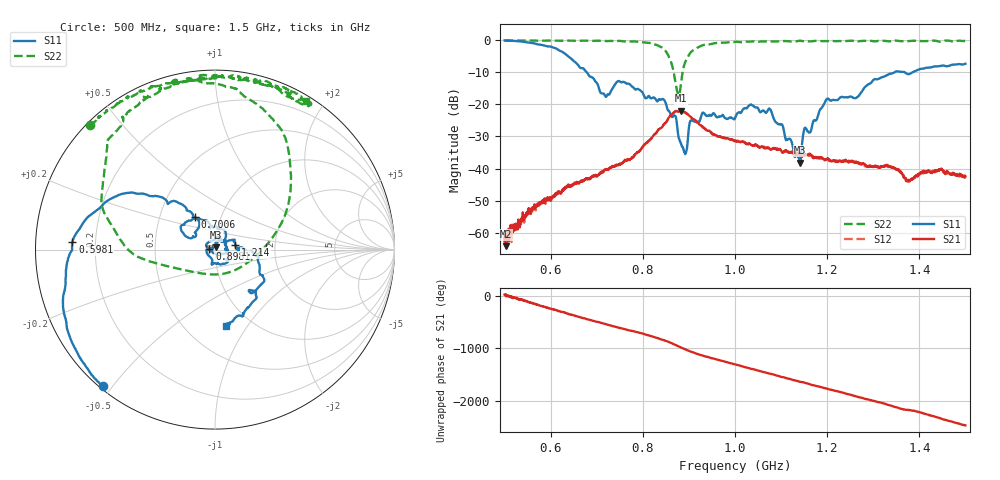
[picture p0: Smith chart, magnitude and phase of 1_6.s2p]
!Agilent Technologies,E8364B,US42250235,A.06.04.32
!Agilent E8364B: A.06.04.32
!Date: Friday, January 15, 2021 16:18:51
!Correction: S11(Full 2 Port(1,2)) S21(Full 2 Port(1,2)) S12(Full 2 Port(1,2)) S22(Full 2 Port(1,2))
!S2P File: Measurements: S11, S21, S12, S22:
# Hz S  dB  R 50
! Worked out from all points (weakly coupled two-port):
!   1601 points, 500 MHz to 1.5 GHz, reference 50 ohm
!   highest |S21| = -21.99 dB at 881.9 MHz (marker M1); lowest = -64.2 dB at 503.1 MHz (marker M2)
!   lowest |S11| = -38.1 dB at 1.141 GHz (marker M3), VSWR 1.03, Z = 50.3 + j1.21 ohm
!   |S11| at or under -10 dB: 678.2 MHz to 1.347 GHz (668.5 MHz wide, 66 % of centre); 1.368 GHz to 1.385 GHz (17.47 MHz wide, 1.27 % of centre)
!   |S22| runs from -17.2 to -0.1 dB; largest |S21 - S12| = 0.0019
!   S11 on the Smith chart (normalised r, x): 500 MHz: 0.01, -0.47; 598.1 MHz: 0.11, +0.03; 700.6 MHz: 0.75, +0.28; 898.1 MHz: 0.94, +0.01; 1.214 GHz: 1.26, +0.07; 1.5 GHz: 0.77, -0.80
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5e8  -0.13 -129.5  -62.67 21.5  -61.27 -1.3  -0.16 135.2
5.03125e8  -0.14 -130.7  -64.16 -0.2  -61.00 11.2  -0.17 134.8
5.98125e8  -1.99 177.0  -49.52 118.0  -49.75 115.3  -0.17 124.6
6.66875e8  -8.74 135.9  -43.91 -56.4  -44.14 -57.6  -0.22 115.0
7.00625e8  -13.47 121.9  -42.53 -136.5  -42.14 -136.7  -0.20 111.2
8.3375e8  -18.71 82.4  -27.86 -91.8  -27.88 -91.9  -1.77 69.4
8.60625e8  -23.24 28.9  -23.35 -176.6  -23.44 -175.9  -6.60 30.4
8.75e8  -27.48 -31.2  -22.24 124.3  -22.25 124.8  -16.27 -51.8
8.81875e8  -32.00 -58.0  -21.99 98.1  -22.02 98.4  -14.60 -139.7
8.9125e8  -35.21 176.7  -22.50 62.1  -22.48 62.2  -7.12 -175.4
8.98125e8  -29.97 168.9  -23.23 36.7  -23.07 36.7  -5.12 170.8
9.05e8  -25.02 147.7  -24.06 12.8  -24.14 12.6  -3.64 160.9
9.3125e8  -22.65 72.5  -27.14 -63.4  -27.21 -62.5  -1.56 136.0
1e9  -24.36 5.9  -31.56 133.5  -31.35 133.7  -0.55 113.9
1.075625e9  -21.48 -102.5  -33.85 -44.1  -33.67 -42.8  -0.36 103.2
1.14125e9  -38.14 75.8  -36.20 161.8  -35.71 163.0  -0.22 94.4
1.15125e9  -27.35 77.8  -35.71 143.0  -35.85 142.5  -0.37 95.0
1.166875e9  -27.08 73.2  -36.10 101.8  -36.06 103.3  -0.38 89.4
1.21375e9  -18.63 13.4  -37.43 -0.6  -37.81 0.3  -0.30 87.8
1.33375e9  -10.61 -28.7  -39.30 80.0  -39.54 79.2  -0.39 74.7
1.375625e9  -10.62 -50.1  -43.56 -13.1  -43.84 -14.7  -0.35 69.9
1.5e9  -7.38 -81.7  -42.36 51.8  -42.49 49.7  -0.26 58.6
